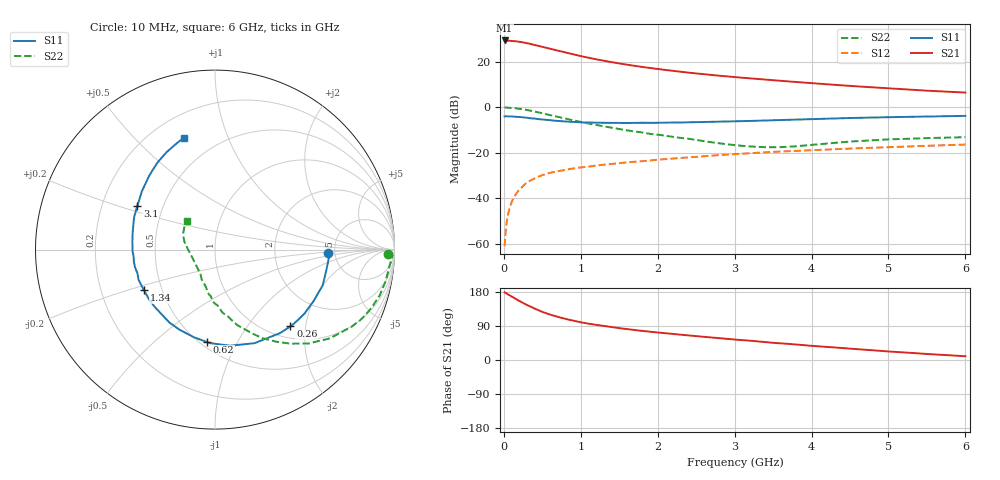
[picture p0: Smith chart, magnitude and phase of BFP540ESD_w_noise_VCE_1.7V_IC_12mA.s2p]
! Infineon Technologies  Discrete & RF Semiconductors
! BFP540ESD
! VCE =  1.7 V,  IC =  12 mA
! Common Emitter S-Parameters:  Nov 2015
# GHz  S  MA  R  50
!  f  S11  S21  S12  S22
! GHz  MAG  ANG  MAG  ANG  MAG  ANG  MAG  ANG
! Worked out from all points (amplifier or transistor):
!   210 points, 10 MHz to 6 GHz, reference 50 ohm
!   highest |S21| = 29.3 dB at 10 MHz (marker M1)
!   |S21| within 3 dB of that: start of sweep to 530.7 MHz
!   unconditionally stable (mu >= 1): 2.521 GHz to end of sweep
!   at 185 MHz: K = 0.12, MSG = 32.8 dB, |S12| = -36.8 dB
!   at 1.52 GHz: K = 0.78, MSG = 21.8 dB, |S12| = -24.5 dB
!   at 6 GHz: K = 1.14, MAG = 9.1 dB, |S12| = -16.4 dB
!   lowest NFmin = 0.93 dB at 900 MHz
!   S11 on the Smith chart (normalised r, x): 10 MHz: 4.37, -0.27; 260 MHz: 1.23, -1.65; 620 MHz: 0.54, -0.76; 1.34 GHz: 0.40, -0.22; 3.1 GHz: 0.36, +0.23; 6 GHz: 0.33, +0.71
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0.01  0.6288 -1.7  29.19 178.4  0.0009 81.5  0.9665 -1.5
0.04  0.6329 -7.4  29.01 175.0  0.0033 88.0  0.9813 -4.1
0.1  0.6323 -18.3  28.67 167.8  0.0082 84.9  0.9673 -10.3
0.15  0.62 -27.2  28.17 161.8  0.012 80.7  0.9524 -15.5
0.2  0.6129 -35.7  27.38 156.0  0.0155 77.0  0.9307 -20.4
0.26  0.5996 -45.5  26.29 149.4  0.0194 71.9  0.8987 -26.0
0.3  0.5896 -52.1  25.54 145.2  0.0226 70.3  0.8736 -29.5
0.4  0.5661 -67.1  23.4 135.5  0.0275 65.2  0.8085 -37.7
0.5  0.542 -81.1  21.34 127.0  0.0325 61.4  0.7393 -45.0
0.62  0.5166 -95.0  18.88 118.8  0.0372 57.2  0.6628 -52.0
0.8  0.4881 -113.8  15.86 108.4  0.0423 53.0  0.5631 -61.5
0.9  0.4794 -122.0  14.44 103.7  0.0456 51.7  0.5176 -65.5
1.02  0.4654 -131.0  13.02 98.9  0.0483 50.6  0.4685 -70.1
1.16  0.4608 -140.6  11.62 93.9  0.0517 48.8  0.4215 -75.0
1.34  0.4561 -150.5  10.19 88.5  0.0559 47.8  0.3704 -80.4
1.66  0.4542 -165.7  8.297 80.0  0.0631 46.3  0.302 -89.6
2.02  0.4593 -179.3  6.836 72.2  0.0713 44.5  0.2484 -98.2
2.6  0.4757 163.2  5.298 61.1  0.0841 41.8  0.1806 -114.6
3.1  0.4966 150.5  4.446 52.5  0.0957 38.5  0.1427 -132.5
4.1  0.5564 130.0  3.285 36.0  0.1163 31.0  0.1547 176.7
5.1  0.6103 115.1  2.544 21.3  0.1353 23.3  0.2 152.1
6  0.6478 105.4  2.101 9.9  0.1521 17.2  0.2213 134.6
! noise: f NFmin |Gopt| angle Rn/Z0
0.9  0.93  0.16  -133  0.11
1.8  1.11  0.2  -149  0.1
2.4  1.12  0.2  -146  0.1
3  1.24  0.25  -142  0.11
4  1.35  0.38  -110  0.17
5  1.51  0.47  -91  0.3
6  1.78  0.53  -92  0.49
